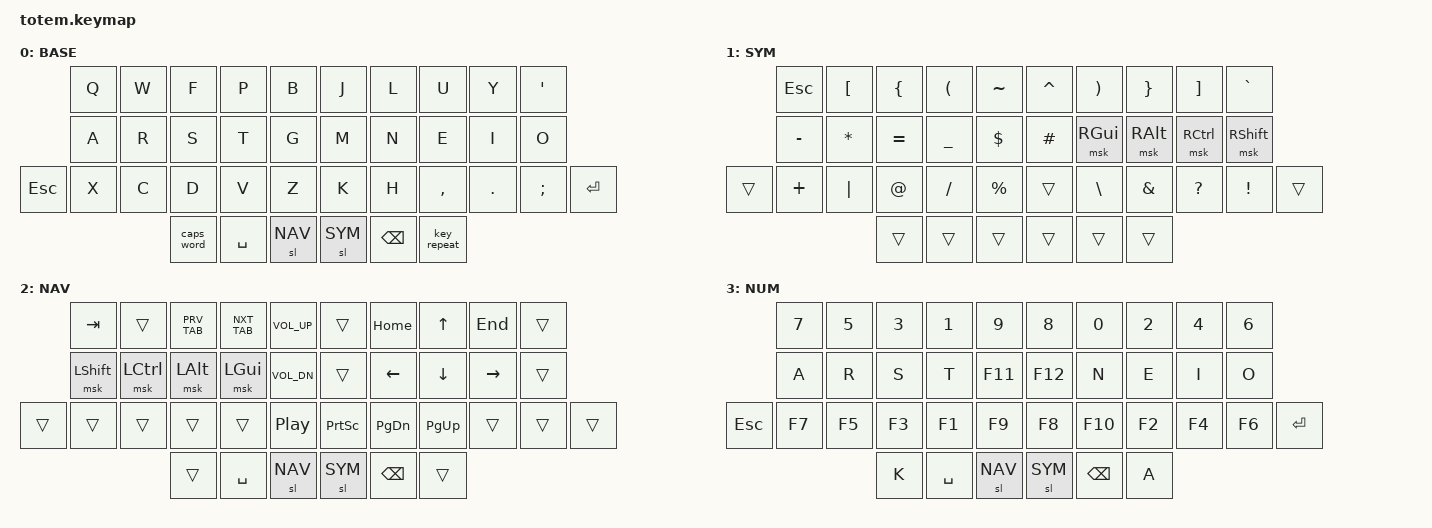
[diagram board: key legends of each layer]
//
//                                                        ▀▀▀▀▀     ▀▀▀▀▀          ▀▀█▀▀
//                                                        ▄▀▀▀▄  ▄  ▄▀▀▀▄  ▄  ▄▀▀▀▄  █  ▄▀▀▀▄
//                                                        █   █  █  █   █  █  █   █  █  █   █
//                                                         ▀▀▀   █   ▀▀▀   █   ▀▀▀   ▀   ▀▀▀
//                                                               █      ▄▄▄█▄▄▄    █   █  
//                                                               ▀      █  █  █     █▄█
//                                                             ▀▀▀▀▀    █  █  █      ▀
//                                                                      ▀  ▀  ▀
//
// ▄▄▄▄▄▄▄▄▄▄▄▄▄▄▄▄▄▄▄▄▄▄▄▄▄▄▄▄▄▄▄▄▄▄▄▄▄▄▄▄▄▄▄▄▄▄▄▄▄▄▄▄▄▄▄▄▄▄▄▄▄▄▄▄▄▄▄▄▄▄▄▄▄▄▄▄▄▄▄▄▄▄▄▄▄▄▄▄▄▄▄▄▄▄▄▄▄▄▄▄▄▄▄▄▄▄▄▄▄▄▄▄▄▄▄▄▄▄▄▄▄▄▄▄▄▄▄▄▄▄▄▄▄▄▄▄▄▄▄▄▄▄▄▄▄▄▄▄▄
       

#include <behaviors.dtsi>
#include <dt-bindings/zmk/keys.h>
#include <dt-bindings/zmk/bt.h>
#include <dt-bindings/zmk/outputs.h>

#define BASE 0
#define SYM 1
#define NAV 2
#define NUM 3

#define NXT_TAB kp LC(TAB)
#define PRV_TAB kp LC(LS(TAB))

/ {
       conditional_layers {
              compatible = "zmk,conditional-layers";
              tri_layer {
                     if-layers = <SYM NAV>;
                     then-layer = <NUM>;
              };
       };

       behaviors {
              msk: modifier_sticky_key {
                     compatible = "zmk,behavior-sticky-key";
                     #binding-cells = <1>;
                     bindings = <&kp>;
                     release-after-ms = <1000>;
                     quick-release;
                     ignore-modifiers;
              };
       };



        keymap {
                compatible = "zmk,keymap";
// ▄▄▄▄▄▄▄▄▄▄▄▄▄▄▄▄▄▄▄▄▄▄▄▄▄▄▄▄▄▄▄▄▄▄▄▄▄▄▄▄▄▄▄▄▄▄▄▄▄▄▄▄▄▄▄▄▄▄▄▄▄▄▄▄▄▄▄▄▄▄▄▄▄▄▄▄▄▄▄▄▄▄▄▄▄▄▄▄▄▄▄▄▄▄▄▄▄▄▄▄▄▄▄▄▄▄▄▄▄▄▄▄▄▄▄▄▄▄▄▄▄▄▄▄▄▄▄▄▄▄▄▄▄▄▄▄▄▄▄▄▄▄▄▄▄▄▄▄▄

                base_layer {
// ┏━━━━━━━━━━━━━━━━━━━━━━━━━━━━━━━━━━━━━━━┓
label= "BASE"                              ;
// ┗━━━━━━━━━━━━━━━━━━━━━━━━━━━━━━━━━━━━━━━┛
//             ┏━━━━━━━━━━━┳━━━━━━━━━━━┳━━━━━━━━━━━┳━━━━━━━━━━━┳━━━━━━━━━━━┓   ┏━━━━━━━━━━━┳━━━━━━━━━━━┳━━━━━━━━━━━┳━━━━━━━━━━━┳━━━━━━━━━━━┓
//             ┃     Q     ┃     W     ┃     F     ┃     P     ┃     B     ┃   ┃     J     ┃     L     ┃     U     ┃     Y     ┃     '     ┃
//             ┣━━━━━━━━━━━╋━━━━━━━━━━━╋━━━━━━━━━━━╋━━━━━━━━━━━╋━━━━━━━━━━━┫   ┣━━━━━━━━━━━╋━━━━━━━━━━━╋━━━━━━━━━━━╋━━━━━━━━━━━╋━━━━━━━━━━━┫
//             ┃     A     ┃     R     ┃     S     ┃     T     ┃     G     ┃   ┃     M     ┃     N     ┃     E     ┃     I     ┃     O     ┃
// ┏━━━━━━━━━━━╋━━━━━━━━━━━╋━━━━━━━━━━━╋━━━━━━━━━━━╋━━━━━━━━━━━╋━━━━━━━━━━━┫   ┣━━━━━━━━━━━╋━━━━━━━━━━━╋━━━━━━━━━━━╋━━━━━━━━━━━╋━━━━━━━━━━━╋━━━━━━━━━━━┓
// ┃    ESC    ┃     X     ┃     C     ┃     D     ┃     V     ┃     Z     ┃   ┃     K     ┃     H     ┃     ,     ┃     .     ┃     ;     ┃    RET    ┃
// ┗━━━━━━━━━━━┻━━━━━━━━━━━┻━━━━━━━━━━━╋━━━━━━━━━━━╋━━━━━━━━━━━╋━━━━━━━━━━━┫   ┣━━━━━━━━━━━╋━━━━━━━━━━━╋━━━━━━━━━━━╋━━━━━━━━━━━┻━━━━━━━━━━━┻━━━━━━━━━━━┛
//                                     ┃ CAPS_WORD ┃   SPACE   ┃    NAV    ┃   ┃    SYM    ┃   BKSPC   ┃    ___    ┃
//                                     ┗━━━━━━━━━━━┻━━━━━━━━━━━┻━━━━━━━━━━━┛   ┗━━━━━━━━━━━┻━━━━━━━━━━━┻━━━━━━━━━━━┛
 bindings = <
// ╷           ╷           ╷           ╷           ╷           ╷           ╷   ╷           ╷           ╷           ╷           ╷           ╷           ╷

                &kp Q       &kp W       &kp F       &kp P       &kp B           &kp J       &kp L       &kp U       &kp Y       &kp QUOT
                &kp A       &kp R       &kp S       &kp T       &kp G           &kp M       &kp N       &kp E       &kp I       &kp O
    &kp ESC     &kp X       &kp C       &kp D       &kp V       &kp Z           &kp K       &kp H       &kp COMMA   &kp DOT     &kp SEMI    &kp ENTER
                                        &caps_word  &kp SPACE   &sl NAV         &sl SYM     &kp BSPC    &key_repeat
                        >;
                };

              sym_layer {
// ┏━━━━━━━━━━━━━━━━━━━━━━━━━━━━━━━━━━━━━━━┓
label= "SYM"                               ;
// ┗━━━━━━━━━━━━━━━━━━━━━━━━━━━━━━━━━━━━━━━┛
//             ┏━━━━━━━━━━━┳━━━━━━━━━━━┳━━━━━━━━━━━┳━━━━━━━━━━━┳━━━━━━━━━━━┓   ┏━━━━━━━━━━━┳━━━━━━━━━━━┳━━━━━━━━━━━┳━━━━━━━━━━━┳━━━━━━━━━━━┓
//             ┃    ESC    ┃     [     ┃     {     ┃     (     ┃     ~     ┃   ┃     ^     ┃     )     ┃     }     ┃     ]     ┃     `     ┃
//             ┣━━━━━━━━━━━╋━━━━━━━━━━━╋━━━━━━━━━━━╋━━━━━━━━━━━╋━━━━━━━━━━━┫   ┣━━━━━━━━━━━╋━━━━━━━━━━━╋━━━━━━━━━━━╋━━━━━━━━━━━╋━━━━━━━━━━━┫
//             ┃     -     ┃     *     ┃     =     ┃     _     ┃     $     ┃   ┃     #     ┃   <CMD>   ┃   <ALT>   ┃  <RCTRL>  ┃  <RSHFT>  ┃
// ┏━━━━━━━━━━━╋━━━━━━━━━━━╋━━━━━━━━━━━╋━━━━━━━━━━━╋━━━━━━━━━━━╋━━━━━━━━━━━┫   ┣━━━━━━━━━━━╋━━━━━━━━━━━╋━━━━━━━━━━━╋━━━━━━━━━━━╋━━━━━━━━━━━╋━━━━━━━━━━━┓
// ┃    ___    ┃     +     ┃     |     ┃     @     ┃     /     ┃     %     ┃   ┃    ___    ┃     \     ┃     &     ┃     ?     ┃     !     ┃    ___    ┃
// ┗━━━━━━━━━━━┻━━━━━━━━━━━┻━━━━━━━━━━━╋━━━━━━━━━━━╋━━━━━━━━━━━╋━━━━━━━━━━━┫   ┣━━━━━━━━━━━╋━━━━━━━━━━━╋━━━━━━━━━━━╋━━━━━━━━━━━┻━━━━━━━━━━━┻━━━━━━━━━━━┛
//                                     ┃    ___    ┃    ___    ┃    ___    ┃   ┃    ___    ┃    ___    ┃    ___    ┃
//                                     ┗━━━━━━━━━━━┻━━━━━━━━━━━┻━━━━━━━━━━━┛   ┗━━━━━━━━━━━┻━━━━━━━━━━━┻━━━━━━━━━━━┛
 bindings = <
// ╷           ╷           ╷           ╷           ╷           ╷           ╷   ╷           ╷           ╷           ╷           ╷           ╷           ╷

                &kp ESC     &kp LBKT    &kp LBRC    &kp LPAR    &kp TILDE       &kp CARET   &kp RPAR    &kp RBRC    &kp RBKT    &kp GRAVE
                &kp MINUS   &kp STAR    &kp EQUAL   &kp UNDER   &kp DOLLAR      &kp HASH    &msk RGUI   &msk RALT   &msk RCTRL  &msk RSHFT
    &trans      &kp PLUS    &kp PIPE    &kp AT      &kp SLASH   &kp PERCENT     &trans      &kp BSLH    &kp AMPS    &kp QMARK   &kp EXCL   &trans
                                        &trans      &trans      &trans          &trans      &trans      &trans 
                        >;

              };

              nav_layer {
// ┏━━━━━━━━━━━━━━━━━━━━━━━━━━━━━━━━━━━━━━━┓
label= "NAV"                               ;
// ┗━━━━━━━━━━━━━━━━━━━━━━━━━━━━━━━━━━━━━━━┛
//             ┏━━━━━━━━━━━┳━━━━━━━━━━━┳━━━━━━━━━━━┳━━━━━━━━━━━┳━━━━━━━━━━━┓   ┏━━━━━━━━━━━┳━━━━━━━━━━━┳━━━━━━━━━━━┳━━━━━━━━━━━┳━━━━━━━━━━━┓
//             ┃    TAB    ┃     E     ┃  PRV_TAB  ┃  NXT_TAB  ┃  VOL_UP   ┃   ┃     T     ┃     X     ┃     B     ┃     F     ┃     I     ┃
//             ┣━━━━━━━━━━━╋━━━━━━━━━━━╋━━━━━━━━━━━╋━━━━━━━━━━━╋━━━━━━━━━━━┫   ┣━━━━━━━━━━━╋━━━━━━━━━━━╋━━━━━━━━━━━╋━━━━━━━━━━━╋━━━━━━━━━━━┫
//             ┃   LSHFT   ┃   LCTRL   ┃   LALT    ┃   LGUI    ┃  VOL_DN   ┃   ┃     U     ┃     Y     ┃     C     ┃     G     ┃     J     ┃
// ┏━━━━━━━━━━━╋━━━━━━━━━━━╋━━━━━━━━━━━╋━━━━━━━━━━━╋━━━━━━━━━━━╋━━━━━━━━━━━┫   ┣━━━━━━━━━━━╋━━━━━━━━━━━╋━━━━━━━━━━━╋━━━━━━━━━━━╋━━━━━━━━━━━╋━━━━━━━━━━━┓
// ┃    ESC    ┃     D     ┃     G     ┃     J     ┃     N     ┃PLAY/PAUSE ┃   ┃     V     ┃     Z     ┃     D     ┃     H     ┃     K     ┃     L     ┃
// ┗━━━━━━━━━━━┻━━━━━━━━━━━┻━━━━━━━━━━━╋━━━━━━━━━━━╋━━━━━━━━━━━╋━━━━━━━━━━━┫   ┣━━━━━━━━━━━╋━━━━━━━━━━━╋━━━━━━━━━━━╋━━━━━━━━━━━┻━━━━━━━━━━━┻━━━━━━━━━━━┛
//                                     ┃     K     ┃     O     ┃     S     ┃   ┃     W     ┃     A     ┃     E     ┃
//                                     ┗━━━━━━━━━━━┻━━━━━━━━━━━┻━━━━━━━━━━━┛   ┗━━━━━━━━━━━┻━━━━━━━━━━━┻━━━━━━━━━━━┛
 bindings = <
// ╷           ╷           ╷           ╷           ╷           ╷           ╷   ╷           ╷           ╷           ╷           ╷           ╷           ╷

                &kp TAB     &trans      &PRV_TAB    &NXT_TAB    &kp C_VOL_UP    &trans      &kp HOME    &kp UP      &kp END     &trans
                &msk LSHFT  &msk LCTRL  &msk LALT   &msk LGUI   &kp C_VOL_DN    &trans      &kp LEFT    &kp DOWN    &kp RIGHT   &trans
    &trans      &trans      &trans      &trans      &trans      &kp C_PP        &kp PSCRN   &kp PG_DN   &kp PG_UP   &trans      &trans      &trans
                                        &trans      &kp SPACE   &sl NAV         &sl SYM     &kp BACKSPACE       &trans
                        >;

              };

              num_layer {
// ┏━━━━━━━━━━━━━━━━━━━━━━━━━━━━━━━━━━━━━━━┓
label= "NUM"                               ;
// ┗━━━━━━━━━━━━━━━━━━━━━━━━━━━━━━━━━━━━━━━┛
//             ┏━━━━━━━━━━━┳━━━━━━━━━━━┳━━━━━━━━━━━┳━━━━━━━━━━━┳━━━━━━━━━━━┓   ┏━━━━━━━━━━━┳━━━━━━━━━━━┳━━━━━━━━━━━┳━━━━━━━━━━━┳━━━━━━━━━━━┓
//             ┃     7     ┃     5     ┃     3     ┃     1     ┃     9     ┃   ┃     8     ┃     0     ┃     2     ┃     4     ┃     6     ┃
//             ┣━━━━━━━━━━━╋━━━━━━━━━━━╋━━━━━━━━━━━╋━━━━━━━━━━━╋━━━━━━━━━━━┫   ┣━━━━━━━━━━━╋━━━━━━━━━━━╋━━━━━━━━━━━╋━━━━━━━━━━━╋━━━━━━━━━━━┫
//             ┃     C     ┃     F     ┃     I     ┃     M     ┃    FN11   ┃   ┃   FN12    ┃     Y     ┃     C     ┃     G     ┃     J     ┃
// ┏━━━━━━━━━━━╋━━━━━━━━━━━╋━━━━━━━━━━━╋━━━━━━━━━━━╋━━━━━━━━━━━╋━━━━━━━━━━━┫   ┣━━━━━━━━━━━╋━━━━━━━━━━━╋━━━━━━━━━━━╋━━━━━━━━━━━╋━━━━━━━━━━━╋━━━━━━━━━━━┓
// ┃     A     ┃    FN7    ┃    FN5    ┃    FN3    ┃    FN1    ┃    FN9    ┃   ┃    FN8    ┃   FN10    ┃    FN2    ┃    FN4    ┃    FN6    ┃     L     ┃
// ┗━━━━━━━━━━━┻━━━━━━━━━━━┻━━━━━━━━━━━╋━━━━━━━━━━━╋━━━━━━━━━━━╋━━━━━━━━━━━┫   ┣━━━━━━━━━━━╋━━━━━━━━━━━╋━━━━━━━━━━━╋━━━━━━━━━━━┻━━━━━━━━━━━┻━━━━━━━━━━━┛
//                                     ┃     K     ┃     O     ┃     S     ┃   ┃     W     ┃     A     ┃     E     ┃
//                                     ┗━━━━━━━━━━━┻━━━━━━━━━━━┻━━━━━━━━━━━┛   ┗━━━━━━━━━━━┻━━━━━━━━━━━┻━━━━━━━━━━━┛
 bindings = <
// ╷           ╷           ╷           ╷           ╷           ╷           ╷   ╷           ╷           ╷           ╷           ╷           ╷           ╷

                &kp N7      &kp N5      &kp N3      &kp N1      &kp N9          &kp N8      &kp N0      &kp N2      &kp N4      &kp N6
                &kp A       &kp R       &kp S       &kp T       &kp F11         &kp F12     &kp N       &kp E       &kp I       &kp O
    &kp ESC     &kp F7      &kp F5      &kp F3      &kp F1      &kp F9          &kp F8      &kp F10     &kp F2      &kp F4      &kp F6   &kp ENTER
                                        &kp K       &kp SPACE   &sl NAV         &sl SYM     &kp BACKSPACE       &kp A 
                        >;

              };
       };
};
